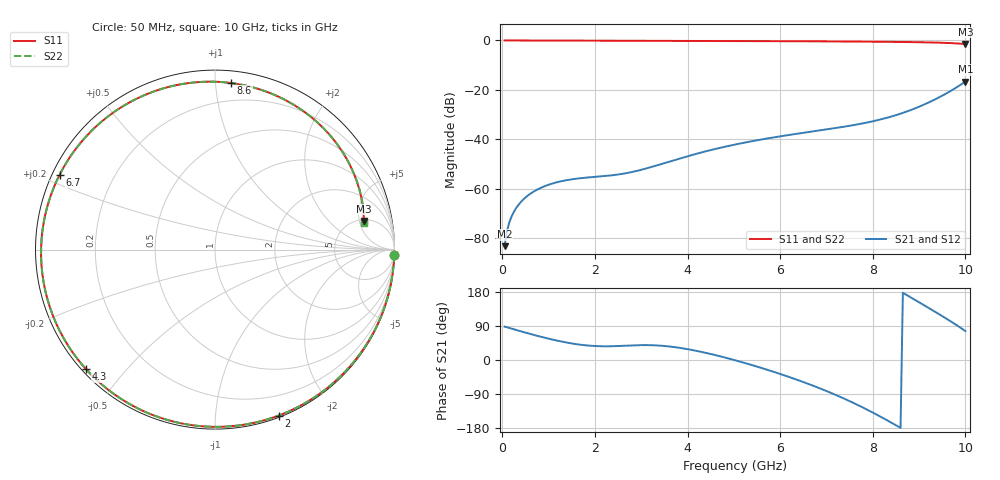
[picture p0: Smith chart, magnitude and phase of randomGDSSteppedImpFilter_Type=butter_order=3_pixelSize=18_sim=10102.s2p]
! freq	dB(S11)	phase(S11)	dB(S12)	phase(S12)
!  dB(S21)	phase(S21)	dB(S22)	phase(S22)
!S-par simulation data
#  GHz  S  DB  R 50
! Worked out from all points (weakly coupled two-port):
!   200 points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, 50 MHz to 10 GHz, reference 50 ohm
!   highest |S21| = -16.62 dB at 10 GHz (marker M1); lowest = -83.3 dB at 50 MHz (marker M2)
!   lowest |S11| = -1.5 dB at 10 GHz (marker M3), VSWR 11.90, Z = 263 + j293 ohm
!   |S11| at or under -10 dB: nowhere
!   |S22| runs from -1.5 to 0.0 dB; largest |S21 - S12| = 0
!   S11 on the Smith chart (normalised r, x): 50 MHz: 1, -63; 2 GHz: 0.02, -1.45; 4.3 GHz: 0.01, -0.39; 6.7 GHz: 0.02, +0.23; 8.6 GHz: 0.08, +1.10; 10 GHz: 5.26, +5.86
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0.05  -0.00 -1.8  -83.25 88.2  -83.25 88.2  -0.00 -1.8
0.15  -0.01 -5.4  -73.74 84.6  -73.74 84.6  -0.01 -5.4
0.25  -0.01 -9.0  -69.35 81.0  -69.35 81.0  -0.01 -9.0
0.4  -0.02 -14.4  -65.39 75.7  -65.39 75.7  -0.02 -14.4
0.55  -0.02 -19.7  -62.79 70.6  -62.79 70.6  -0.02 -19.7
1.05  -0.04 -37.2  -58.08 54.8  -58.08 54.8  -0.04 -37.2
1.75  -0.08 -60.9  -55.63 39.4  -55.63 39.4  -0.08 -60.9
2  -0.08 -69.0  -55.21 36.9  -55.21 36.9  -0.09 -69.0
2.7  -0.11 -91.0  -53.63 38.0  -53.63 38.0  -0.11 -91.0
3.4  -0.14 -111.7  -50.21 38.0  -50.21 38.0  -0.14 -111.8
4.3  -0.18 -137.2  -45.33 21.4  -45.33 21.4  -0.18 -137.3
5.05  -0.22 -157.9  -42.04 -1.4  -42.04 -1.4  -0.22 -158.0
5.9  -0.28 178.2  -39.11 -32.8  -39.11 -32.8  -0.28 178.0
6.7  -0.35 154.3  -36.83 -67.3  -36.83 -67.3  -0.35 154.1
7.5  -0.43 127.8  -34.53 -108.5  -34.53 -108.5  -0.43 127.5
7.95  -0.49 111.2  -32.92 -135.5  -32.92 -135.5  -0.50 110.9
8.35  -0.56 95.2  -31.07 -161.9  -31.07 -161.9  -0.56 94.8
8.6  -0.61 84.5  -29.63 -179.2  -29.63 -179.2  -0.61 84.0
8.95  -0.69 68.4  -27.20 155.9  -27.20 155.9  -0.70 67.9
9.3  -0.82 50.9  -24.27 130.6  -24.27 130.6  -0.83 50.3
9.7  -1.09 29.0  -20.25 100.7  -20.25 100.7  -1.09 28.3
10  -1.46 10.9  -16.62 76.3  -16.62 76.3  -1.47 10.1
